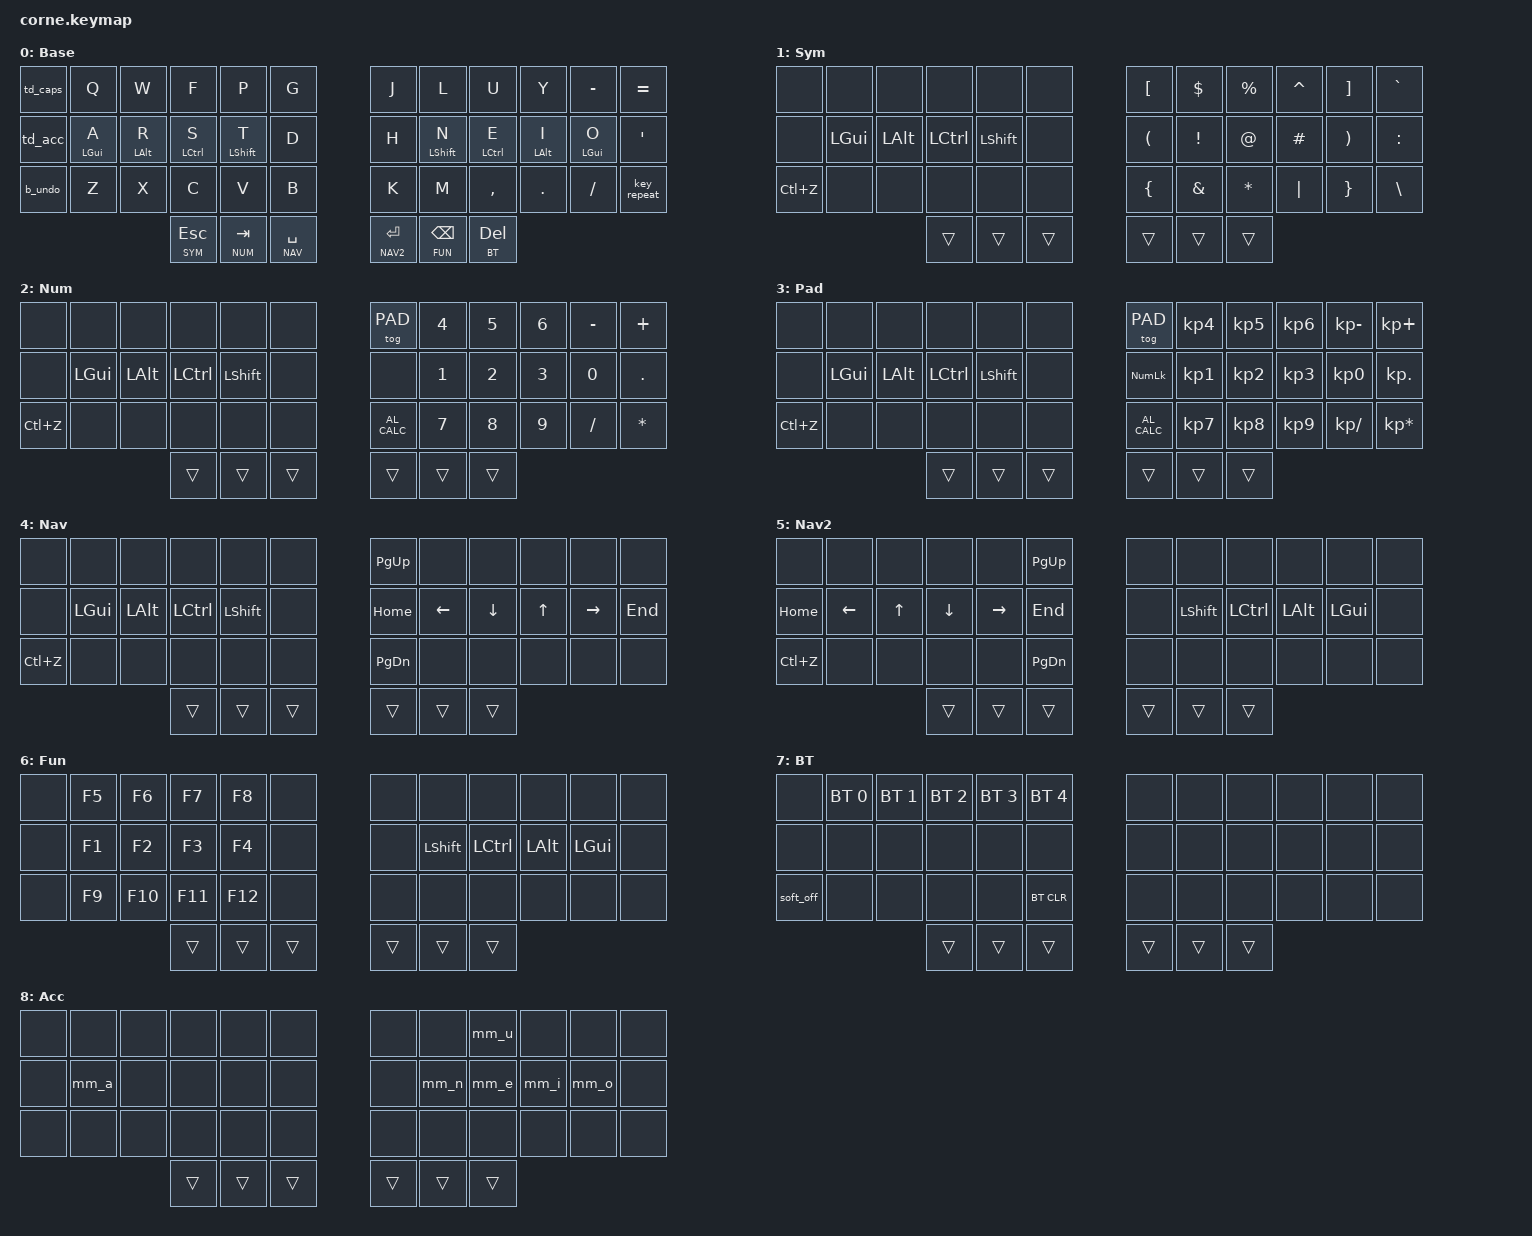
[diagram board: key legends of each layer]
/*
 * Copyright (c) 2020 The ZMK Contributors
 *
 * SPDX-License-Identifier: MIT
 */

#include <behaviors.dtsi>
#include <dt-bindings/zmk/keys.h>
#include <dt-bindings/zmk/bt.h>
#include <dt-bindings/zmk/rgb.h>

// --- LAYER DEFINITIONS ---
#define BASE 0
#define SYM  1
#define NUM  2
#define PAD  3
#define NAV  4
#define NAV2 5
#define FUN  6
#define BT   7
#define ACC  8

/ {
    // --- COMBOS ---
    combos {
        compatible = "zmk,combos";

        // --- Left Side ---
        combo_copy {
            timeout-ms = <50>;
            key-positions = <26 27>; // X and C
            bindings = <&kp LC(C)>;
        };
        combo_paste {
            timeout-ms = <50>;
            key-positions = <27 28>; // C and V
            bindings = <&kp LC(V)>;
        };
        combo_paste_text {
            timeout-ms = <50>;
            key-positions = <28 29>; // V and B
            bindings = <&kp LC(LS(V))>;
        };
        combo_close {
            timeout-ms = <50>;
            key-positions = <2 3>; // W and F
            bindings = <&kp LC(W)>;
        };
        combo_reload {
            timeout-ms = <50>;
            key-positions = <3 4>; // F and P
            bindings = <&kp LC(R)>;
        };

        // --- Right Side ---
        combo_semicolon {
            timeout-ms = <50>;
            key-positions = <32 33>; // COMMA and DOT
            bindings = <&kp SEMI>;
        };
        combo_backslash {
            timeout-ms = <50>;
            key-positions = <33 34>; // DOT and FSLH
            bindings = <&kp BSLH>;
        };
        combo_tilde {
            timeout-ms = <50>;
            key-positions = <10 11>; // MINUS and EQUAL
            bindings = <&kp TILDE>;
        };

        // --- Both Thumbs ---
        combo_leader {
            timeout-ms = <50>;
            key-positions = <38 39>; // SPACE and RET
            bindings = <&none>; // READ NOTE BELOW!
        };
    };

    // --- ACCENT MACROS ---
    macros {
        // A: á (160) / Á (0193)
        a_low: a_low { compatible = "zmk,behavior-macro"; #binding-cells = <0>; tap-ms = <20>; bindings = <&macro_press &kp LALT>, <&macro_tap &kp KP_N1 &kp KP_N6 &kp KP_N0>, <&macro_release &kp LALT>; };
        a_up: a_up { compatible = "zmk,behavior-macro"; #binding-cells = <0>; tap-ms = <20>; bindings = <&macro_press &kp LALT>, <&macro_tap &kp KP_N0 &kp KP_N1 &kp KP_N9 &kp KP_N3>, <&macro_release &kp LALT>; };

        // E: é (130) / É (0201)
        e_low: e_low { compatible = "zmk,behavior-macro"; #binding-cells = <0>; tap-ms = <20>; bindings = <&macro_press &kp LALT>, <&macro_tap &kp KP_N1 &kp KP_N3 &kp KP_N0>, <&macro_release &kp LALT>; };
        e_up: e_up { compatible = "zmk,behavior-macro"; #binding-cells = <0>; tap-ms = <20>; bindings = <&macro_press &kp LALT>, <&macro_tap &kp KP_N0 &kp KP_N2 &kp KP_N0 &kp KP_N1>, <&macro_release &kp LALT>; };

        // I: í (161) / Í (0205)
        i_low: i_low { compatible = "zmk,behavior-macro"; #binding-cells = <0>; tap-ms = <20>; bindings = <&macro_press &kp LALT>, <&macro_tap &kp KP_N1 &kp KP_N6 &kp KP_N1>, <&macro_release &kp LALT>; };
        i_up: i_up { compatible = "zmk,behavior-macro"; #binding-cells = <0>; tap-ms = <20>; bindings = <&macro_press &kp LALT>, <&macro_tap &kp KP_N0 &kp KP_N2 &kp KP_N0 &kp KP_N5>, <&macro_release &kp LALT>; };

        // O: ó (162) / Ó (0211)
        o_low: o_low { compatible = "zmk,behavior-macro"; #binding-cells = <0>; tap-ms = <20>; bindings = <&macro_press &kp LALT>, <&macro_tap &kp KP_N1 &kp KP_N6 &kp KP_N2>, <&macro_release &kp LALT>; };
        o_up: o_up { compatible = "zmk,behavior-macro"; #binding-cells = <0>; tap-ms = <20>; bindings = <&macro_press &kp LALT>, <&macro_tap &kp KP_N0 &kp KP_N2 &kp KP_N1 &kp KP_N1>, <&macro_release &kp LALT>; };

        // U: ú (163) / Ú (0218)
        u_low: u_low { compatible = "zmk,behavior-macro"; #binding-cells = <0>; tap-ms = <20>; bindings = <&macro_press &kp LALT>, <&macro_tap &kp KP_N1 &kp KP_N6 &kp KP_N3>, <&macro_release &kp LALT>; };
        u_up: u_up { compatible = "zmk,behavior-macro"; #binding-cells = <0>; tap-ms = <20>; bindings = <&macro_press &kp LALT>, <&macro_tap &kp KP_N0 &kp KP_N2 &kp KP_N1 &kp KP_N8>, <&macro_release &kp LALT>; };

        // N: ñ (164) / Ñ (0209)
        n_low: n_low { compatible = "zmk,behavior-macro"; #binding-cells = <0>; tap-ms = <20>; bindings = <&macro_press &kp LALT>, <&macro_tap &kp KP_N1 &kp KP_N6 &kp KP_N4>, <&macro_release &kp LALT>; };
        n_up: n_up { compatible = "zmk,behavior-macro"; #binding-cells = <0>; tap-ms = <20>; bindings = <&macro_press &kp LALT>, <&macro_tap &kp KP_N0 &kp KP_N2 &kp KP_N0 &kp KP_N9>, <&macro_release &kp LALT>; };
    };

    // --- BEHAVIORS ---
    behaviors {
        // Left hand HRMs: Only trigger hold if a right-hand key is pressed
        hml: homerow_mods_left {
            compatible = "zmk,behavior-hold-tap";
            #binding-cells = <2>;
            flavor = "balanced";
            tapping-term-ms = <170>;
            quick-tap-ms = <175>;                // Repeat tap quickly to hold the letter
            require-prior-idle-ms = <150>;       // Prevents false triggers while typing fast
            bindings = <&kp>, <&kp>;
            hold-trigger-key-positions = <6 7 8 9 10 11 18 19 20 21 22 23 30 31 32 33 34 35 39 40 41>;
            hold-trigger-on-release;             // Matches the precise timing of CHORDAL_HOLD
        };

        // Right hand HRMs: Only trigger hold if a left-hand key is pressed
        hmr: homerow_mods_right {
            compatible = "zmk,behavior-hold-tap";
            #binding-cells = <2>;
            flavor = "balanced";
            tapping-term-ms = <170>;
            quick-tap-ms = <175>;
            require-prior-idle-ms = <150>;
            bindings = <&kp>, <&kp>;
            hold-trigger-key-positions = <0 1 2 3 4 5 12 13 14 15 16 17 24 25 26 27 28 29 36 37 38>;
            hold-trigger-on-release;
        };

        // Tap Dance: 1 = Caps Word, 2 = Caps Lock
        td_caps: tap_dance_caps {
            compatible = "zmk,behavior-tap-dance";
            #binding-cells = <0>;
            tapping-term-ms = <200>;
            bindings = <&caps_word>, <&kp CAPS>;
        };

        // Tap Dance: 1 = Sticky Layer ACC, 2 = App Menu
        td_acc: tap_dance_accent {
            compatible = "zmk,behavior-tap-dance";
            #binding-cells = <0>;
            tapping-term-ms = <200>;
            bindings = <&sl ACC>, <&kp K_APP>;
        };

        // Shift + Ctrl+Z = Ctrl+Y
        b_undo: behavior_undo_redo {
            compatible = "zmk,behavior-mod-morph";
            #binding-cells = <0>;
            bindings = <&kp LC(Z)>, <&kp LC(Y)>;
            mods = <(MOD_LSFT|MOD_RSFT)>;
        };

        mm_a: mm_a { compatible = "zmk,behavior-mod-morph"; #binding-cells = <0>; bindings = <&a_low>, <&a_up>; mods = <(MOD_LSFT|MOD_RSFT)>; };
        mm_e: mm_e { compatible = "zmk,behavior-mod-morph"; #binding-cells = <0>; bindings = <&e_low>, <&e_up>; mods = <(MOD_LSFT|MOD_RSFT)>; };
        mm_i: mm_i { compatible = "zmk,behavior-mod-morph"; #binding-cells = <0>; bindings = <&i_low>, <&i_up>; mods = <(MOD_LSFT|MOD_RSFT)>; };
        mm_o: mm_o { compatible = "zmk,behavior-mod-morph"; #binding-cells = <0>; bindings = <&o_low>, <&o_up>; mods = <(MOD_LSFT|MOD_RSFT)>; };
        mm_u: mm_u { compatible = "zmk,behavior-mod-morph"; #binding-cells = <0>; bindings = <&u_low>, <&u_up>; mods = <(MOD_LSFT|MOD_RSFT)>; };
        mm_n: mm_n { compatible = "zmk,behavior-mod-morph"; #binding-cells = <0>; bindings = <&n_low>, <&n_up>; mods = <(MOD_LSFT|MOD_RSFT)>; };
    };

    keymap {
        compatible = "zmk,keymap";

        base_layer {
            display-name = "Base";
            bindings = <
   &td_caps   &kp Q       &kp W       &kp F        &kp P         &kp G      &kp J  &kp L         &kp U         &kp Y        &kp MINUS   &kp EQUAL
   &td_acc    &hml LGUI A &hml LALT R &hml LCTRL S &hml LSHIFT T &kp D      &kp H  &hmr LSHIFT N &hmr LCTRL E  &hmr LALT I  &hmr LGUI O &kp SQT
   &b_undo    &kp Z       &kp X       &kp C        &kp V         &kp B      &kp K  &kp M         &kp COMMA     &kp DOT      &kp FSLH    &key_repeat
                                      &lt SYM ESC  &lt NUM TAB   &lt NAV SPACE   &lt NAV2 RET  &lt FUN BSPC  &lt BT DEL
            >;
        };
        sym_layer {
            display-name = "Sym";
            bindings = <
   &none     &none    &none    &none     &none      &none       &kp LBKT &kp DLLR &kp PRCNT &kp CARET &kp RBKT &kp GRAVE
   &none     &kp LGUI &kp LALT &kp LCTRL &kp LSHIFT &none       &kp LPAR &kp EXCL &kp AT    &kp HASH  &kp RPAR &kp COLON
   &kp LC(Z) &none    &none    &none     &none      &none       &kp LBRC &kp AMPS &kp STAR  &kp PIPE  &kp RBRC &kp BSLH
                               &trans    &trans     &trans      &trans   &trans   &trans
            >;
        };

        num_layer {
            display-name = "Num";
            bindings = <
   &none     &none    &none    &none     &none      &none       &tog PAD      &kp N4 &kp N5 &kp N6 &kp MINUS &kp PLUS
   &none     &kp LGUI &kp LALT &kp LCTRL &kp LSHIFT &none       &none         &kp N1 &kp N2 &kp N3 &kp N0    &kp DOT
   &kp LC(Z) &none    &none    &none     &none      &none       &kp C_AL_CALC &kp N7 &kp N8 &kp N9 &kp FSLH  &kp STAR
                               &trans    &trans     &trans      &trans        &trans &trans
            >;
        };

        pad_layer {
            display-name = "Pad";
            bindings = <
   &none     &none    &none    &none     &none      &none       &tog PAD      &kp KP_N4 &kp KP_N5 &kp KP_N6 &kp KP_MINUS  &kp KP_PLUS
   &none     &kp LGUI &kp LALT &kp LCTRL &kp LSHIFT &none       &kp KP_NUM    &kp KP_N1 &kp KP_N2 &kp KP_N3 &kp KP_N0     &kp KP_DOT
   &kp LC(Z) &none    &none    &none     &none      &none       &kp C_AL_CALC &kp KP_N7 &kp KP_N8 &kp KP_N9 &kp KP_DIVIDE &kp KP_MULTIPLY
                               &trans    &trans     &trans      &trans        &trans    &trans
            >;
        };

        nav_layer {
            display-name = "Nav";
            bindings = <
   &none     &none    &none    &none     &none      &none       &kp PG_UP &none    &none    &none  &none     &none
   &none     &kp LGUI &kp LALT &kp LCTRL &kp LSHIFT &none       &kp HOME  &kp LEFT &kp DOWN &kp UP &kp RIGHT &kp END
   &kp LC(Z) &none    &none    &none     &none      &none       &kp PG_DN &none    &none    &none  &none     &none
                               &trans    &trans     &trans      &trans    &trans   &trans
            >;
        };

        nav2_layer {
            display-name = "Nav2";
            bindings = <
   &none     &none    &none  &none    &none     &kp PG_UP       &none &none      &none      &none    &none    &none
   &kp HOME  &kp LEFT &kp UP &kp DOWN &kp RIGHT &kp END         &none &kp LSHIFT &kp LCTRL  &kp LALT &kp LGUI &none
   &kp LC(Z) &none    &none  &none    &none     &kp PG_DN       &none &none      &none      &none    &none    &none
                               &trans &trans    &trans          &trans &trans &trans
            >;
        };

        fun_layer {
            display-name = "Fun";
            bindings = <
   &none &kp F5 &kp F6  &kp F7  &kp F8  &none                   &none &none      &none      &none    &none    &none
   &none &kp F1 &kp F2  &kp F3  &kp F4  &none                   &none &kp LSHIFT &kp LCTRL  &kp LALT &kp LGUI &none
   &none &kp F9 &kp F10 &kp F11 &kp F12 &none                   &none &none      &none      &none    &none    &none
                        &trans  &trans  &trans                  &trans &trans &trans
            >;
        };

        bt_layer {
            display-name = "BT";
            bindings = <
   &none      &bt BT_SEL 0 &bt BT_SEL 1 &bt BT_SEL 2 &bt BT_SEL 3 &bt BT_SEL 4    &none &none &none &none &none &none
   &none      &none        &none        &none        &none        &none           &none &none &none &none &none &none
   &soft_off  &none        &none        &none        &none        &bt BT_CLR      &none &none &none &none &none &none
                                        &trans       &trans       &trans          &trans &trans &trans
            >;
        };

        acc_layer {
            display-name = "Acc";
            bindings = <
   &none &none &none &none &none &none                          &none &none  &mm_u &none &none &none
   &none &mm_a &none &none &none &none                          &none &mm_n  &mm_e &mm_i &mm_o &none
   &none &none &none &none &none &none                          &none &none  &none &none &none &none
                     &trans &trans &trans                       &trans &trans &trans
            >;
        };
    };
};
